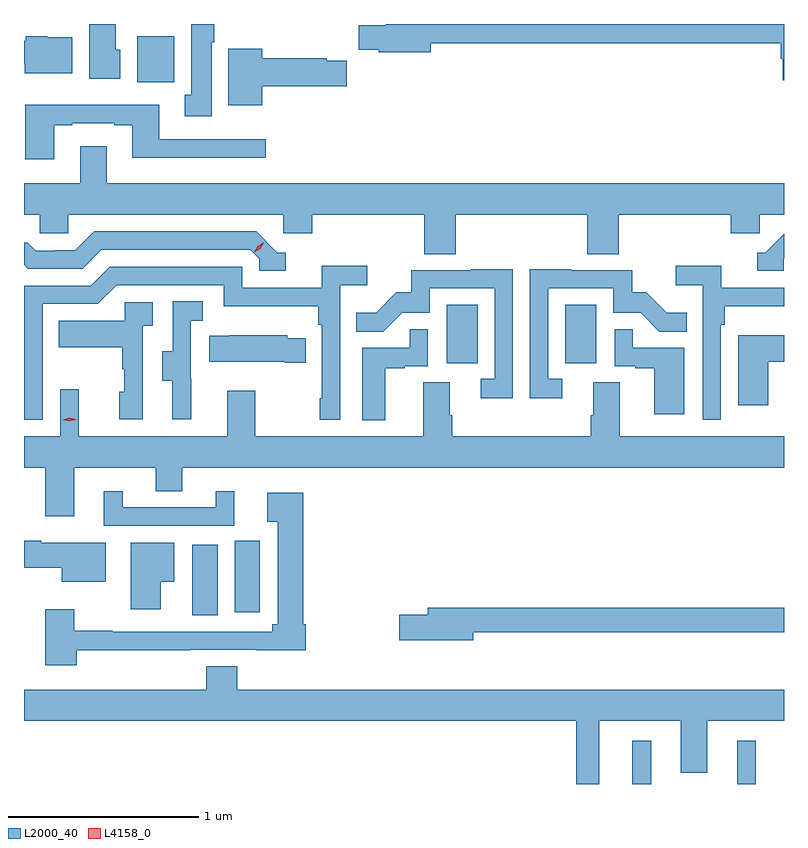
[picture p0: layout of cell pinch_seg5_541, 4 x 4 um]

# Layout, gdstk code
import gdstk
lib = gdstk.Library(unit=1e-6, precision=1e-09)
def R(c, l, rs):  # rectangles x0, y0, x1, y1
    for r in rs: c.add(gdstk.rectangle(r[:2], r[2:], *l))
def P(c, l, *ps):  # polygons
    for p in ps: c.add(gdstk.Polygon(p, *l))
L2000_40 = (2000, 40)
L4158_0 = (4158, 0)

pinch_seg5_541 = lib.new_cell('pinch_seg5_541')
R(pinch_seg5_541, L2000_40, [(953.33,841.775,953.428,842.002), (953.882,841.775,953.98,842.002), (951.014,842.662,951.148,843.034), (951.236,842.679,951.37,843.054), (952.352,843.99,952.516,844.297), (952.976,843.99,953.14,844.297), (950.723,845.468,950.92,845.71)])
P(pinch_seg5_541, L2000_40, [(950.635,845.64),(950.611,845.64),(950.611,845.775),(950.471,845.775),(950.471,845.486),(950.635,845.486)],
  [(951.115,845.678),(951.13,845.678),(951.13,845.775),(951.008,845.775),(951.008,845.402),(950.975,845.402),(950.975,845.289),(951.115,845.289)],
  [(954.128,845.775),(952.031,845.775),(952.031,845.769),(951.889,845.769),(951.889,845.639),(951.994,845.639),(951.994,845.627),(952.27,845.627),(952.27,845.674),(954.11,845.674),(954.11,845.591),(954.122,845.591),(954.122,845.48),(954.128,845.48)],
  [(950.383,845.704),(950.25,845.704),(950.25,845.71),(950.136,845.71),(950.136,845.686),(950.128,845.686),(950.128,845.564),(950.132,845.564),(950.132,845.516),(950.383,845.516)],
  [(951.382,845.447),(951.827,845.447),(951.827,845.581),(951.722,845.581),(951.722,845.594),(951.382,845.594),(951.382,845.644),(951.203,845.644),(951.203,845.348),(951.382,845.348)],
  [(950.287,845.241),(950.383,845.241),(950.383,845.253),(950.603,845.253),(950.603,845.241),(950.699,845.241),(950.699,845.072),(951.4,845.072),(951.4,845.169),(950.839,845.169),(950.839,845.35),(950.135,845.35),(950.135,845.064),(950.287,845.064)],
  [(952.4,844.772),(953.093,844.772),(953.093,844.564),(953.258,844.564),(953.258,844.772),(953.849,844.772),(953.849,844.674),(954,844.674),(954,844.772),(954.128,844.772),(954.128,844.936),(950.563,844.936),(950.563,845.131),(950.423,845.131),(950.423,844.936),(950.128,844.936),(950.128,844.772),(950.211,844.772),(950.211,844.674),(950.361,844.674),(950.361,844.772),(951.492,844.772),(951.492,844.674),(951.644,844.674),(951.644,844.772),(952.235,844.772),(952.235,844.564),(952.4,844.564)],
  [(951.505,844.572),(951.462,844.572),(951.351,844.683),(950.498,844.683),(950.399,844.584),(950.292,844.584),(950.292,844.581),(950.189,844.581),(950.147,844.624),(950.128,844.624),(950.128,844.507),(950.147,844.488),(950.436,844.488),(950.535,844.587),(951.318,844.587),(951.366,844.539),(951.366,844.476),(951.505,844.476)],
  [(954.126,844.539),(954.128,844.541),(954.128,844.67),(954.03,844.572),(953.987,844.572),(953.987,844.476),(954.126,844.476)],
  [(950.226,844.302),(950.517,844.302),(950.616,844.401),(951.18,844.401),(951.18,844.289),(951.676,844.289),(951.676,844.193),(951.696,844.193),(951.696,843.805),(951.684,843.805),(951.684,843.693),(951.792,843.693),(951.792,844.4),(951.934,844.4),(951.934,844.502),(951.695,844.502),(951.695,844.386),(951.276,844.386),(951.276,844.497),(950.579,844.497),(950.48,844.398),(950.13,844.398),(950.13,843.789),(950.128,843.789),(950.128,843.693),(950.226,843.693)],
  [(953.796,844.193),(953.816,844.193),(953.816,844.289),(954.128,844.289),(954.128,844.386),(953.798,844.386),(953.798,844.502),(953.559,844.502),(953.559,844.4),(953.7,844.4),(953.7,843.693),(953.796,843.693)],
  [(952.701,844.484),(952.483,844.484),(952.483,844.479),(952.165,844.479),(952.165,844.362),(952.088,844.362),(951.981,844.255),(951.877,844.255),(951.877,844.156),(952.02,844.156),(952.118,844.254),(952.263,844.254),(952.263,844.383),(952.605,844.383),(952.605,843.909),(952.533,843.909),(952.533,843.804),(952.701,843.804)],
  [(952.96,843.909),(952.887,843.909),(952.887,844.383),(953.229,844.383),(953.229,844.254),(953.373,844.254),(953.471,844.156),(953.615,844.156),(953.615,844.255),(953.511,844.255),(953.404,844.362),(953.328,844.362),(953.328,844.479),(953.009,844.479),(953.009,844.484),(952.791,844.484),(952.791,843.804),(952.96,843.804)],
  [(951.008,843.909),(951.006,843.909),(951.006,844.213),(951.07,844.213),(951.07,844.316),(950.91,844.316),(950.91,844.053),(950.855,844.053),(950.855,843.898),(950.909,843.898),(950.909,843.696),(951.008,843.696)],
  [(950.754,844.187),(950.806,844.187),(950.806,844.311),(950.658,844.311),(950.658,844.213),(950.311,844.213),(950.311,844.073),(950.646,844.073),(950.646,843.959),(950.656,843.959),(950.656,843.84),(950.63,843.84),(950.63,843.696),(950.754,843.696)],
  [(952.03,843.963),(952.133,843.963),(952.133,843.975),(952.254,843.975),(952.254,844.169),(952.159,844.169),(952.159,844.071),(951.908,844.071),(951.908,843.689),(952.03,843.689)],
  [(953.602,844.071),(953.333,844.071),(953.333,844.169),(953.238,844.169),(953.238,843.975),(953.345,843.975),(953.345,843.963),(953.444,843.963),(953.444,843.72),(953.602,843.72)],
  [(951.611,844.12),(951.513,844.12),(951.513,844.138),(951.211,844.138),(951.211,844.135),(951.103,844.135),(951.103,843.998),(951.5,843.998),(951.5,843.991),(951.611,843.991)],
  [(954.046,843.998),(954.128,843.998),(954.128,844.138),(953.888,844.138),(953.888,843.768),(954.046,843.768)],
  [(950.392,843.44),(950.822,843.44),(950.822,843.316),(950.962,843.316),(950.962,843.44),(954.128,843.44),(954.128,843.604),(953.263,843.604),(953.263,843.89),(953.123,843.89),(953.123,843.716),(953.111,843.716),(953.111,843.604),(952.382,843.604),(952.382,843.716),(952.369,843.716),(952.369,843.89),(952.229,843.89),(952.229,843.604),(951.345,843.604),(951.345,843.844),(951.197,843.844),(951.197,843.604),(950.417,843.604),(950.417,843.853),(950.319,843.853),(950.319,843.604),(950.128,843.604),(950.128,843.44),(950.24,843.44),(950.24,843.183),(950.392,843.183)],
  [(951.235,843.316),(951.137,843.316),(951.137,843.231),(950.647,843.231),(950.647,843.316),(950.549,843.316),(950.549,843.135),(951.235,843.135)],
  [(950.405,842.48),(951.002,842.48),(951.002,842.481),(951.35,842.481),(951.35,842.48),(951.612,842.48),(951.612,842.616),(951.599,842.616),(951.599,843.307),(951.408,843.307),(951.408,843.155),(951.464,843.155),(951.464,842.616),(951.434,842.616),(951.434,842.577),(950.594,842.577),(950.594,842.582),(950.392,842.582),(950.392,842.695),(950.24,842.695),(950.24,842.4),(950.405,842.4)],
  [(950.557,843.046),(950.218,843.046),(950.218,843.054),(950.128,843.054),(950.128,842.912),(950.327,842.912),(950.327,842.84),(950.557,842.84)],
  [(950.848,842.84),(950.92,842.84),(950.92,843.046),(950.69,843.046),(950.69,842.694),(950.848,842.694)],
  [(952.492,842.574),(954.128,842.574),(954.128,842.702),(952.253,842.702),(952.253,842.666),(952.104,842.666),(952.104,842.531),(952.492,842.531)],
  [(953.155,842.108),(953.585,842.108),(953.585,841.835),(953.725,841.835),(953.725,842.108),(954.128,842.108),(954.128,842.272),(951.251,842.272),(951.251,842.396),(951.086,842.396),(951.086,842.272),(950.128,842.272),(950.128,842.108),(953.034,842.108),(953.034,841.775),(953.155,841.775)])
P(pinch_seg5_541, L4158_0, [(951.341,844.573),(951.341,844.574),(951.358,844.606),(951.389,844.626),(951.389,844.626),(951.389,844.625),(951.372,844.593),(951.341,844.573)],
  [(950.366,843.683),(950.331,843.692),(950.331,843.693),(950.331,843.693),(950.366,843.703),(950.401,843.694),(950.401,843.694),(950.401,843.693)])

lib.write_gds('pinch_seg5_541.gds')
